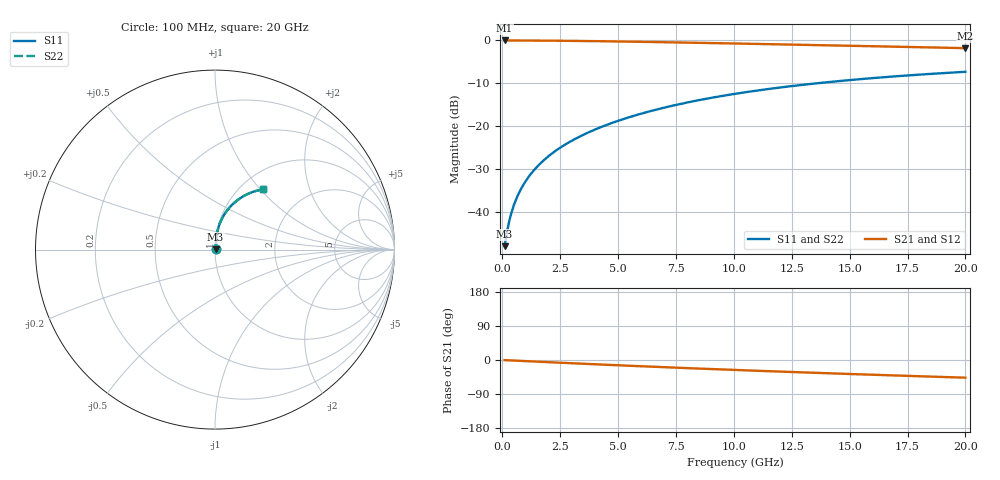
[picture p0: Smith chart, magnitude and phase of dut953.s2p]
! Touchstone file exported from HFSS 2024.1.0
!  File:  C:/UserFiles/LocalFiles/RDL_TSV_Batchsim/temp_RDL_top_953_1779938131.aedt
!  Generated:  11:17:50 AM May 28, 2026
!  Design:  RDL_top
!  Project:  temp_RDL_top_953_1779938131
!  Setup:  Setup1
!  Solution:  Sweep
! Variables:
!  dtsv = 10.80580581um
!  hbump = 3um
!  htsv = 71.05um
!  ldown = 100um
!  lrdl = 629.1um
!  p = 40
!  p1 = 59.15um
!  rhole = 1um
!  t = 450um
!  tdown = 3.915915916um
!  trdl = 3.26um
!  wdown = 15.38538539um
!  wrdl = 22.79um
# GHz S MA R 50.000000
! Terminal data exported
! Port[1] = Box2_T1
! Port[2] = Box2_T2
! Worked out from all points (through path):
!   200 points, 100 MHz to 20 GHz, reference 50 ohm
!   highest |S21| = -0.03 dB at 100 MHz (marker M1); lowest = -1.8 dB at 20 GHz (marker M2)
!   group delay of S21, straight-line fit = 6.43 ps
!   lowest |S11| = -47.9 dB at 100 MHz (marker M3), VSWR 1.01, Z = 50.3 + j0.244 ohm
!   |S11| at or under -10 dB: start of sweep to 13.58 GHz
!   |S22| runs from -47.9 to -7.3 dB; largest |S21 - S12| = 9.3e-15
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0.1  0.004019 37.0  0.9968 -0.3  0.9968 -0.3  0.004019 37.0
! Gamma 0 0 0 0
! Port Impedance 50 0 50 0
0.2  0.005832 54.9  0.9966 -0.6  0.9966 -0.6  0.005832 54.9
0.3  0.007873 63.4  0.9964 -0.9  0.9964 -0.9  0.007873 63.4
0.4  0.00996 68.4  0.9962 -1.2  0.9962 -1.2  0.00996 68.4
0.5  0.01206 71.6  0.996 -1.5  0.996 -1.5  0.01206 71.6
0.6  0.01417 74.0  0.9958 -1.8  0.9958 -1.8  0.01417 74.0
0.8  0.01844 77.1  0.9953 -2.3  0.9953 -2.3  0.01844 77.1
1.1  0.02493 79.9  0.9946 -3.2  0.9946 -3.2  0.02493 79.9
1.3  0.02931 81.1  0.994 -3.8  0.994 -3.8  0.02931 81.1
1.6  0.03594 82.2  0.9929 -4.6  0.9929 -4.6  0.03594 82.2
2.1  0.04715 83.2  0.9908 -6.0  0.9908 -6.0  0.04715 83.2
2.7  0.06086 83.6  0.9876 -7.7  0.9876 -7.7  0.06086 83.6
3.5  0.07954 83.4  0.9823 -9.9  0.9823 -9.9  0.07954 83.4
4.2  0.09622 82.8  0.977 -11.8  0.977 -11.8  0.09622 82.8
5  0.1156 81.8  0.9702 -13.9  0.9702 -13.9  0.1156 81.8
5.9  0.1377 80.3  0.9619 -16.3  0.9619 -16.3  0.1377 80.3
6.8  0.1599 78.7  0.9531 -18.5  0.9531 -18.5  0.1599 78.7
8.4  0.199 75.5  0.9366 -22.4  0.9366 -22.4  0.199 75.5
10.1  0.2395 71.8  0.9184 -26.4  0.9184 -26.4  0.2395 71.8
13.4  0.3125 64.6  0.8822 -33.6  0.8822 -33.6  0.3124 64.6
16.7  0.3762 57.7  0.8461 -40.3  0.8461 -40.3  0.3762 57.7
20  0.4303 51.3  0.8111 -46.6  0.8111 -46.6  0.4303 51.3
